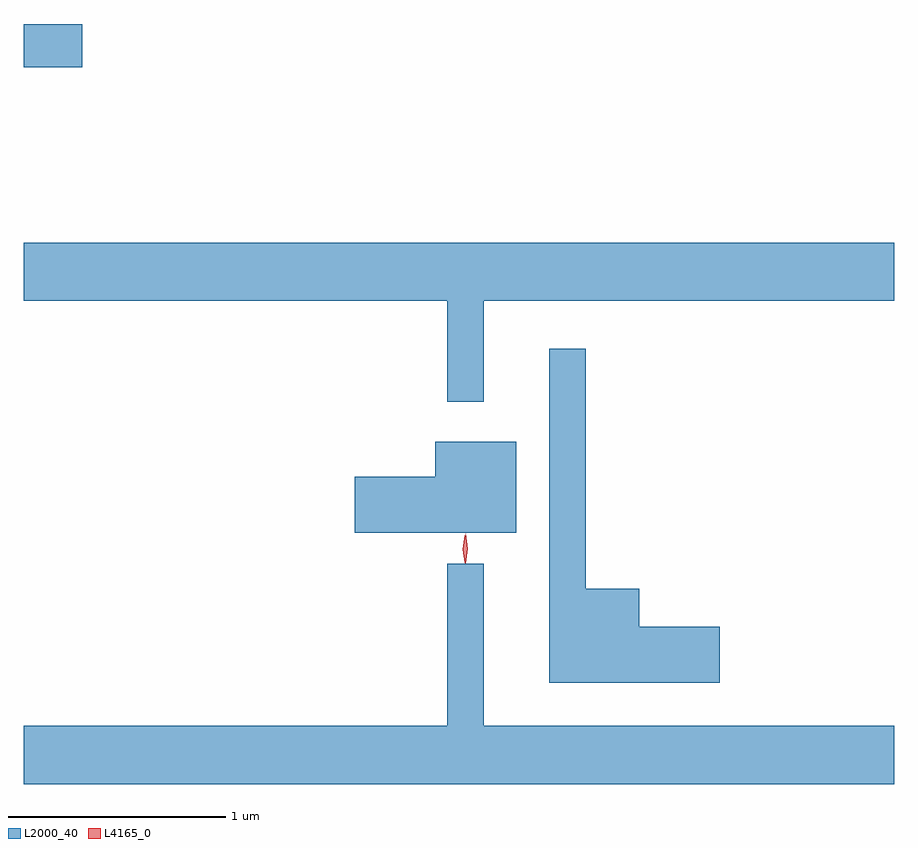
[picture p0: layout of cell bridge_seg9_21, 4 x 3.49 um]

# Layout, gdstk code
import gdstk
lib = gdstk.Library(unit=1e-6, precision=1e-09)
def R(c, l, rs):  # rectangles x0, y0, x1, y1
    for r in rs: c.add(gdstk.rectangle(r[:2], r[2:], *l))
def P(c, l, *ps):  # polygons
    for p in ps: c.add(gdstk.Polygon(p, *l))
L2000_40 = (2000, 40)
L4165_0 = (4165, 0)

bridge_seg9_21 = lib.new_cell('bridge_seg9_21')
R(bridge_seg9_21, L2000_40, [(1574.266,2068.371,1574.534,2068.569)])
P(bridge_seg9_21, L2000_40, [(1576.379,2067.296),(1578.266,2067.296),(1578.266,2067.564),(1574.266,2067.564),(1574.266,2067.296),(1576.211,2067.296),(1576.211,2066.833),(1576.379,2066.833)],
  [(1577.464,2065.799),(1577.094,2065.799),(1577.094,2065.974),(1576.849,2065.974),(1576.849,2067.077),(1576.681,2067.077),(1576.681,2065.541),(1577.464,2065.541)],
  [(1576.529,2066.649),(1576.156,2066.649),(1576.156,2066.489),(1575.786,2066.489),(1575.786,2066.231),(1576.529,2066.231)],
  [(1578.266,2065.344),(1576.379,2065.344),(1576.379,2066.088),(1576.211,2066.088),(1576.211,2065.344),(1574.266,2065.344),(1574.266,2065.076),(1578.266,2065.076)])
P(bridge_seg9_21, L4165_0, [(1576.295,2066.09),(1576.295,2066.09),(1576.286,2066.158),(1576.296,2066.226),(1576.297,2066.226),(1576.297,2066.226),(1576.306,2066.158),(1576.296,2066.09)],
  [(1576.293,2066.093),(1576.293,2066.094),(1576.283,2066.156),(1576.292,2066.219),(1576.292,2066.22),(1576.293,2066.219),(1576.303,2066.156),(1576.294,2066.094)])

lib.write_gds('bridge_seg9_21.gds')
